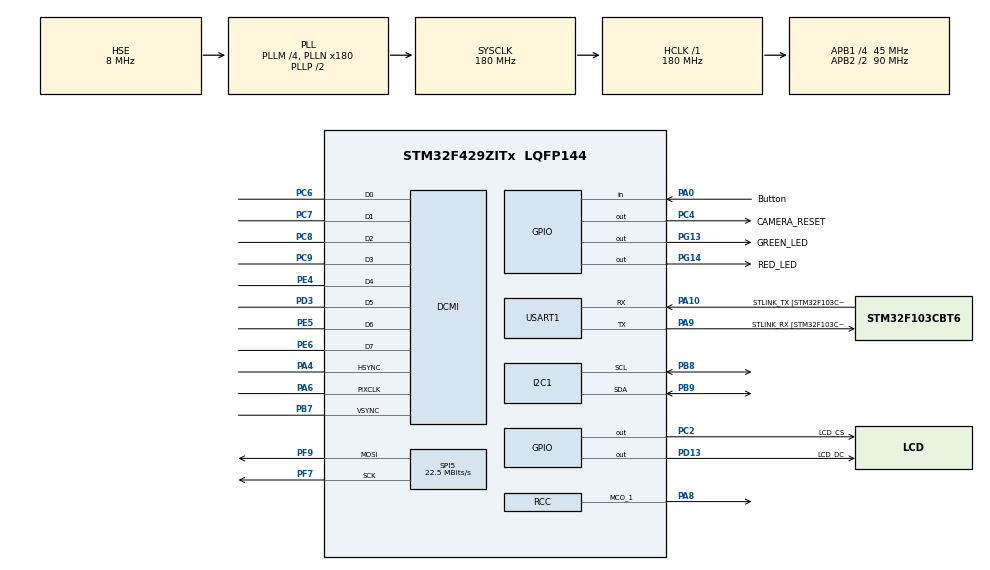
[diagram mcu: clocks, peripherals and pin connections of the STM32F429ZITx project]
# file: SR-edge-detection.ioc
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DCMI.CaptureRate=DCMI_CR_ALL_FRAME
DCMI.JPEGMode=DCMI_JPEG_DISABLE
DCMI.PCKPolarity=DCMI_PCKPOLARITY_RISING
DCMI.VSPolarity=DCMI_VSPOLARITY_HIGH
Dma.DCMI.1.Direction=DMA_PERIPH_TO_MEMORY
Dma.DCMI.1.FIFOMode=DMA_FIFOMODE_ENABLE
Dma.DCMI.1.FIFOThreshold=DMA_FIFO_THRESHOLD_FULL
Dma.DCMI.1.Instance=DMA2_Stream1
Dma.DCMI.1.MemBurst=DMA_MBURST_SINGLE
Dma.DCMI.1.MemDataAlignment=DMA_MDATAALIGN_WORD
Dma.DCMI.1.MemInc=DMA_MINC_ENABLE
Dma.DCMI.1.Mode=DMA_CIRCULAR
Dma.DCMI.1.PeriphBurst=DMA_PBURST_SINGLE
Dma.DCMI.1.PeriphDataAlignment=DMA_PDATAALIGN_WORD
Dma.DCMI.1.PeriphInc=DMA_PINC_DISABLE
Dma.DCMI.1.Priority=DMA_PRIORITY_VERY_HIGH
Dma.Request0=SPI5_TX
Dma.Request1=DCMI
Dma.SPI5_TX.0.Direction=DMA_MEMORY_TO_PERIPH
Dma.SPI5_TX.0.FIFOMode=DMA_FIFOMODE_DISABLE
Dma.SPI5_TX.0.Instance=DMA2_Stream4
Dma.SPI5_TX.0.MemDataAlignment=DMA_MDATAALIGN_BYTE
Dma.SPI5_TX.0.MemInc=DMA_MINC_ENABLE
Dma.SPI5_TX.0.Mode=DMA_NORMAL
Dma.SPI5_TX.0.PeriphDataAlignment=DMA_PDATAALIGN_BYTE
Dma.SPI5_TX.0.PeriphInc=DMA_PINC_DISABLE
Dma.SPI5_TX.0.Priority=DMA_PRIORITY_VERY_HIGH
I2C1.I2C_Mode=I2C_Standard
Mcu.Family=STM32F4
Mcu.Name=STM32F429ZITx
Mcu.Package=LQFP144
NVIC.DCMI_IRQn=true\:0\:0\:false\:false\:true\:true\:true\:true
NVIC.DMA2_Stream1_IRQn=true\:0\:0\:false\:false\:true\:false\:true\:true
NVIC.DMA2_Stream4_IRQn=true\:0\:0\:false\:false\:true\:false\:true\:true
NVIC.PriorityGroup=NVIC_PRIORITYGROUP_4
NVIC.TIM6_DAC_IRQn=true\:15\:0\:false\:false\:true\:false\:true\:true
NVIC.TimeBase=TIM6_DAC_IRQn
NVIC.TimeBaseIP=TIM6
PA0/WKUP.GPIO_Label=Button
PA0/WKUP.Signal=GPIO_Input
PA10.GPIO_Label=STLINK_TX [STM32F103CBT6_PA2]
PA10.Mode=Asynchronous
PA10.Signal=USART1_RX
PA4.GPIO_PuPd=GPIO_PULLDOWN
PA4.GPIO_Speed=GPIO_SPEED_FREQ_VERY_HIGH
PA4.Mode=Slave_8_bits_External_Synchro
PA4.Signal=DCMI_HSYNC
PA6.GPIO_PuPd=GPIO_PULLDOWN
PA6.GPIO_Speed=GPIO_SPEED_FREQ_VERY_HIGH
PA6.Mode=Slave_8_bits_External_Synchro
PA6.Signal=DCMI_PIXCLK
PA8.GPIO_Speed=GPIO_SPEED_FREQ_VERY_HIGH
PA8.Mode=Clock-out-1
PA8.Signal=RCC_MCO_1
PA9.GPIO_Label=STLINK_RX [STM32F103CBT6_PA3]
PA9.Mode=Asynchronous
PA9.Signal=USART1_TX
PB7.GPIO_PuPd=GPIO_PULLDOWN
PB7.GPIO_Speed=GPIO_SPEED_FREQ_VERY_HIGH
PB7.Mode=Slave_8_bits_External_Synchro
PB7.Signal=DCMI_VSYNC
PB8.GPIO_Pu=GPIO_PULLUP
PB8.Mode=I2C
PB8.Signal=I2C1_SCL
PB9.GPIO_Pu=GPIO_PULLUP
PB9.Mode=I2C
PB9.Signal=I2C1_SDA
PC2.GPIO_Label=LCD_CS
PC2.GPIO_PuPd=GPIO_NOPULL
PC2.GPIO_Speed=GPIO_SPEED_FREQ_LOW
PC2.Signal=GPIO_Output
PC4.GPIO_Label=CAMERA_RESET
PC4.Signal=GPIO_Output
PC6.GPIO_PuPd=GPIO_PULLDOWN
PC6.GPIO_Speed=GPIO_SPEED_FREQ_VERY_HIGH
PC6.Mode=Slave_8_bits_External_Synchro
PC6.Signal=DCMI_D0
PC7.GPIO_PuPd=GPIO_PULLDOWN
PC7.GPIO_Speed=GPIO_SPEED_FREQ_VERY_HIGH
PC7.Mode=Slave_8_bits_External_Synchro
PC7.Signal=DCMI_D1
PC8.GPIO_PuPd=GPIO_PULLDOWN
PC8.GPIO_Speed=GPIO_SPEED_FREQ_VERY_HIGH
PC8.Mode=Slave_8_bits_External_Synchro
PC8.Signal=DCMI_D2
PC9.GPIO_PuPd=GPIO_PULLDOWN
PC9.GPIO_Speed=GPIO_SPEED_FREQ_VERY_HIGH
PC9.Mode=Slave_8_bits_External_Synchro
PC9.Signal=DCMI_D3
PD13.GPIO_Label=LCD_DC
PD13.Signal=GPIO_Output
PD3.GPIO_PuPd=GPIO_PULLDOWN
PD3.GPIO_Speed=GPIO_SPEED_FREQ_VERY_HIGH
PD3.Mode=Slave_8_bits_External_Synchro
PD3.Signal=DCMI_D5
PE4.GPIO_PuPd=GPIO_PULLDOWN
PE4.GPIO_Speed=GPIO_SPEED_FREQ_VERY_HIGH
PE4.Mode=Slave_8_bits_External_Synchro
PE4.Signal=DCMI_D4
PE5.GPIO_PuPd=GPIO_PULLDOWN
PE5.GPIO_Speed=GPIO_SPEED_FREQ_VERY_HIGH
PE5.Mode=Slave_8_bits_External_Synchro
PE5.Signal=DCMI_D6
PE6.GPIO_PuPd=GPIO_PULLDOWN
PE6.GPIO_Speed=GPIO_SPEED_FREQ_VERY_HIGH
PE6.Mode=Slave_8_bits_External_Synchro
PE6.Signal=DCMI_D7
PF7.GPIO_Mode=GPIO_MODE_AF_PP
PF7.GPIO_PuPd=GPIO_NOPULL
PF7.GPIO_Speed=GPIO_SPEED_FREQ_LOW
PF7.Mode=TX_Only_Simplex_Unidirect_Master
PF7.Signal=SPI5_SCK
PF9.GPIO_Mode=GPIO_MODE_AF_PP
PF9.GPIO_PuPd=GPIO_NOPULL
PF9.GPIO_Speed=GPIO_SPEED_FREQ_LOW
PF9.Mode=TX_Only_Simplex_Unidirect_Master
PF9.Signal=SPI5_MOSI
PG13.GPIO_Label=GREEN_LED
PG13.GPIO_PuPd=GPIO_NOPULL
PG13.GPIO_Speed=GPIO_SPEED_FREQ_LOW
PG13.Signal=GPIO_Output
PG14.GPIO_Label=RED_LED
PG14.GPIO_PuPd=GPIO_NOPULL
PG14.GPIO_Speed=GPIO_SPEED_FREQ_LOW
PG14.Signal=GPIO_Output
PH0/OSC_IN.GPIO_Label=PH0-OSC_IN
PH0/OSC_IN.Mode=HSE-External-Oscillator
PH0/OSC_IN.Signal=RCC_OSC_IN
PH1/OSC_OUT.GPIO_Label=PH1-OSC_OUT
PH1/OSC_OUT.Mode=HSE-External-Oscillator
PH1/OSC_OUT.Signal=RCC_OSC_OUT
ProjectManager.HeapSize=0x200
ProjectManager.StackSize=0x400
ProjectManager.TargetToolchain=CMake
RCC.48MHZClocksFreq_Value=120000000
RCC.AHBFreq_Value=180000000
RCC.APB1CLKDivider=RCC_HCLK_DIV4
RCC.APB1Freq_Value=45000000
RCC.APB1TimFreq_Value=90000000
RCC.APB2CLKDivider=RCC_HCLK_DIV2
RCC.APB2Freq_Value=90000000
RCC.APB2TimFreq_Value=180000000
RCC.CortexFreq_Value=180000000
RCC.HCLKFreq_Value=180000000
RCC.HSE_VALUE=8000000
RCC.HSI_VALUE=16000000
RCC.LSE_VALUE=32768
RCC.PLLM=4
RCC.PLLN=180
RCC.PLLQ=3
RCC.PLLSAIN=50
RCC.PLLSourceVirtual=RCC_PLLSOURCE_HSE
RCC.RCC_MCO1Source=RCC_MCO1SOURCE_PLLCLK
RCC.RCC_MCO2Source=RCC_MCO2SOURCE_PLLI2SCLK
RCC.RCC_MCODiv1=RCC_MCODIV_4
RCC.RCC_MCODiv2=RCC_MCODIV_4
RCC.SYSCLKFreq_VALUE=180000000
RCC.SYSCLKSource=RCC_SYSCLKSOURCE_PLLCLK
RCC.VCOOutputFreq_Value=360000000
SPI5.BaudRatePrescaler=SPI_BAUDRATEPRESCALER_4
SPI5.CalculateBaudRate=22.5 MBits/s
SPI5.Direction=SPI_DIRECTION_2LINES
SPI5.Mode=SPI_MODE_MASTER
SPI5.VirtualType=VM_MASTER
USART1.VirtualMode=VM_ASYNC
VP_CRC_VS_CRC.Mode=CRC_Activate
VP_SYS_VS_tim6.Mode=TIM6
board=STM32F429I-DISC1

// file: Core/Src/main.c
/* USER CODE BEGIN Header */
/**
 ******************************************************************************
 * @file           : main.c
 * @brief          : Main program body
 ******************************************************************************
 * @attention
 *
 * Copyright (c) 2025 STMicroelectronics.
 * All rights reserved.
 *
 * This software is licensed under terms that can be found in the LICENSE file
 * in the root directory of this software component.
 * If no LICENSE file comes with this software, it is provided AS-IS.
 *
 ******************************************************************************
 */
/* USER CODE END Header */
#include "main.h"
#include "crc.h"
#include "dcmi.h"
#include "dma.h"
#include "i2c.h"
#include "spi.h"
#include "usart.h"
#include "gpio.h"

/* USER CODE BEGIN Includes */
#include "ILI9341_driver.h"
// #include "images/cat.h"
#include "edge_detection.h"
#include <stdio.h>
#include <string.h>
#include "OV7670_driver/OV7670.h"
/* USER CODE END Includes */

/* USER CODE BEGIN PD */
#define NORMAL 1
/* USER CODE END PD */

/* USER CODE BEGIN PV */
uint8_t done = 0x00;
volatile uint8_t spi_dma_done = 0;

uint32_t frame_buffer[ (OV7670_QVGA_HEIGHT * OV7670_QVGA_WIDTH)/8];
uint32_t cropped_frame[(DEST_WIDTH * DEST_HEIGHT) / 2];
uint8_t grayscale_buf[DEST_WIDTH * DEST_HEIGHT];
uint16_t rgb565_buf[DEST_WIDTH * DEST_HEIGHT];
/* USER CODE END PV */

void SystemClock_Config(void);

int main(void)
{

  /* MCU Configuration--------------------------------------------------------*/

  /* Reset of all peripherals, Initializes the Flash interface and the Systick. */
  HAL_Init();

  /* Configure the system clock */
  SystemClock_Config();

  /* Initialize all configured peripherals */
  MX_GPIO_Init();
  MX_DMA_Init();
  MX_CRC_Init();
  MX_SPI5_Init();
  MX_USART1_UART_Init();
  MX_DCMI_Init();
  MX_I2C1_Init();
  /* USER CODE BEGIN 2 */
  ILI9341_init();
  printf("MAIN STARTING...\r\n");

  // ILI9341_draw_image(0, 0, 240, 320, cat);
  while(OV7670_init(&hdcmi, &hdma_dcmi, &hi2c1) != HAL_OK){
    HAL_Delay(500);
    HAL_GPIO_TogglePin(RED_LED_GPIO_Port, RED_LED_Pin);
    HAL_Delay(500);
  }
  // ILI9341_draw_image_DMA(0,0,240,320,cat);

  HAL_GPIO_WritePin(RED_LED_GPIO_Port, RED_LED_Pin, GPIO_PIN_RESET);

  OV7670_start_capture((uint32_t)frame_buffer);
  /* USER CODE END 2 */

  /* Infinite loop */
  while (1){

  }
}

void SystemClock_Config(void)
{
  RCC_OscInitTypeDef RCC_OscInitStruct = {0};
  RCC_ClkInitTypeDef RCC_ClkInitStruct = {0};

  /** Configure the main internal regulator output voltage
  */
  __HAL_RCC_PWR_CLK_ENABLE();
  __HAL_PWR_VOLTAGESCALING_CONFIG(PWR_REGULATOR_VOLTAGE_SCALE1);

  /** Initializes the RCC Oscillators according to the specified parameters
  * in the RCC_OscInitTypeDef structure.
  */
  RCC_OscInitStruct.OscillatorType = RCC_OSCILLATORTYPE_HSE;
  RCC_OscInitStruct.HSEState = RCC_HSE_ON;
  RCC_OscInitStruct.PLL.PLLState = RCC_PLL_ON;
  RCC_OscInitStruct.PLL.PLLSource = RCC_PLLSOURCE_HSE;
  RCC_OscInitStruct.PLL.PLLM = 4;
  RCC_OscInitStruct.PLL.PLLN = 180;
  RCC_OscInitStruct.PLL.PLLP = RCC_PLLP_DIV2;
  RCC_OscInitStruct.PLL.PLLQ = 3;
  if (HAL_RCC_OscConfig(&RCC_OscInitStruct) != HAL_OK)
  {
    Error_Handler();
  }

  /** Activate the Over-Drive mode
  */
  if (HAL_PWREx_EnableOverDrive() != HAL_OK)
  {
    Error_Handler();
  }

  /** Initializes the CPU, AHB and APB buses clocks
  */
  RCC_ClkInitStruct.ClockType = RCC_CLOCKTYPE_HCLK|RCC_CLOCKTYPE_SYSCLK
                              |RCC_CLOCKTYPE_PCLK1|RCC_CLOCKTYPE_PCLK2;
  RCC_ClkInitStruct.SYSCLKSource = RCC_SYSCLKSOURCE_PLLCLK;
  RCC_ClkInitStruct.AHBCLKDivider = RCC_SYSCLK_DIV1;
  RCC_ClkInitStruct.APB1CLKDivider = RCC_HCLK_DIV4;
  RCC_ClkInitStruct.APB2CLKDivider = RCC_HCLK_DIV2;

  if (HAL_RCC_ClockConfig(&RCC_ClkInitStruct, FLASH_LATENCY_5) != HAL_OK)
  {
    Error_Handler();
  }
  HAL_RCC_MCOConfig(RCC_MCO1, RCC_MCO1SOURCE_PLLCLK, RCC_MCODIV_4);
}

/* USER CODE BEGIN 4 */
int _write(int file, char *ptr, int len) {
  (void)file;
  HAL_UART_Transmit(&huart1 , (uint8_t *)ptr , len , 50);
  return len;
}

// Callback po zakończeniu DMA
void HAL_SPI_TxCpltCallback(SPI_HandleTypeDef *hspi) {
  if (hspi->Instance == SPI5) {
      ILI9341_DMA_continue();
  }
}

void HAL_DCMI_FrameEventCallback(DCMI_HandleTypeDef *hdcmi) {
  OV7670_crop_to_80x80(frame_buffer, cropped_frame);

  #if NORMAL
  ILI9341_draw_image_DMA(80, 120, 80, 80, (uint8_t*)cropped_frame);
  #else
  memset(grayscale_buf, 0, sizeof(grayscale_buf));
  image_to_grayscale((uint16_t*) cropped_frame, grayscale_buf, 80, 80);
  canny();
  memset(rgb565_buf, 0, sizeof(rgb565_buf));
  grayscale_to_rgb565(grayscale_buf, rgb565_buf, 80, 80);
  ILI9341_draw_image_DMA(80, 120, 80, 80, (uint8_t *) rgb565_buf);
  #endif

  // ILI9341_draw_image_DMA(0, 120, 240, 80, (uint8_t *)frame_buffer);
}

/* USER CODE END 4 */

void HAL_TIM_PeriodElapsedCallback(TIM_HandleTypeDef *htim)
{
  if (htim->Instance == TIM6)
  {
    HAL_IncTick();
  }
}

void Error_Handler(void)
{
  __disable_irq();
  while (1)
  {
  }
}
